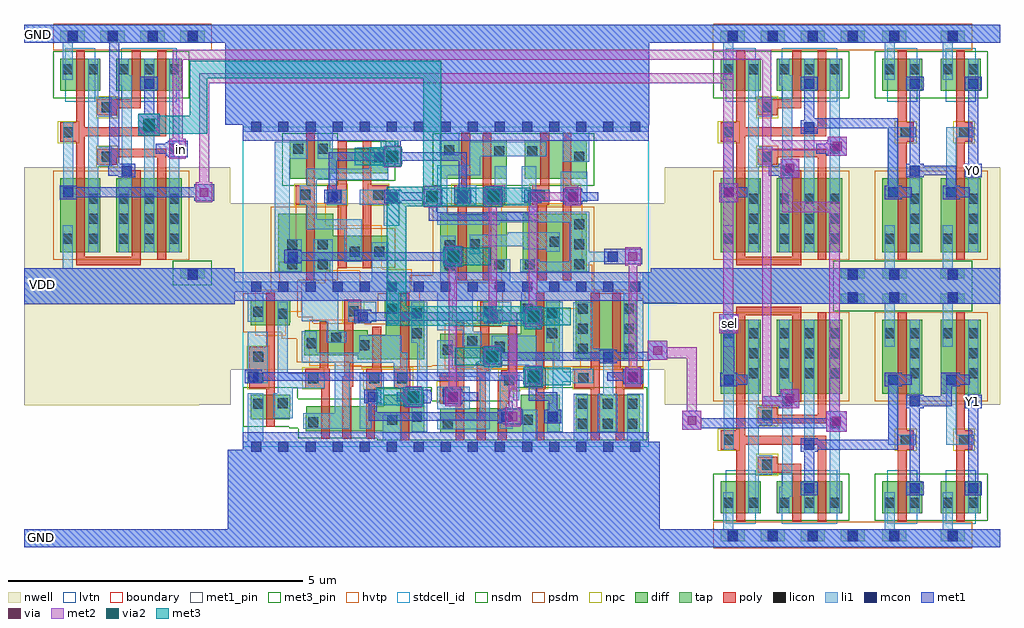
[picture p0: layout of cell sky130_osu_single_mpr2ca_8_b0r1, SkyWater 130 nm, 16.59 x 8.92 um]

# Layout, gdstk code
import gdstk
lib = gdstk.Library(unit=1e-6, precision=1e-09)
def R(c, l, rs):  # rectangles x0, y0, x1, y1
    for r in rs: c.add(gdstk.rectangle(r[:2], r[2:], *l))
def A(c, l, x, y, w, h, nx, ny, dx, dy):  # array of equal rectangles
    R(c, l, [(x+i*dx, y+j*dy, x+i*dx+w, y+j*dy+h) for i in range(nx) for j in range(ny)])
nwell = (64, 20)
diff = (65, 20)
tap = (65, 44)
poly = (66, 20)
licon = (66, 44)
li1 = (67, 20)
mcon = (67, 44)
met1_pin = (68, 16)
met1 = (68, 20)
via = (68, 44)
met2 = (69, 20)
via2 = (69, 44)
met3_pin = (70, 16)
met3 = (70, 20)
hvtp = (78, 44)
stdcell_id = (81, 4)
nsdm = (93, 44)
psdm = (94, 20)
npc = (95, 20)
lvtn = (125, 44)
boundary = (235, 4)

sky130_osu_sc_12t_hs__mu = lib.new_cell('sky130_osu_sc_12T_hs__mux2_1')
R(sky130_osu_sc_12t_hs__mu, nwell, [(-0.045,2.425,2.765,4.515)])
R(sky130_osu_sc_12t_hs__mu, diff, [(0.135,0.575,0.815,1.125), (1.085,0.575,2.195,1.125), (0.135,2.605,0.815,3.865), (1.085,2.605,2.195,3.865)])
A(sky130_osu_sc_12t_hs__mu, tap, 0.135, 0.105, 0.41, 0.2, 4, 1, 0.68, 0)
R(sky130_osu_sc_12t_hs__mu, tap, [(2.17,4.135,2.585,4.305)])
R(sky130_osu_sc_12t_hs__mu, poly, [(0.4,0.445,0.55,1.66), (1.35,0.445,1.5,1.265), (1.78,0.445,1.93,1.745), (0.76,1.265,1.5,1.415), (0.76,1.415,1.09,1.535), (0.135,1.66,0.55,1.745), (0.135,1.745,1.93,1.895), (0.135,1.895,0.55,1.99), (0.4,1.99,0.55,3.94), (0.76,2.105,1.93,2.255), (0.76,2.255,1.09,2.375), (1.78,2.255,1.93,3.995), (1.35,2.475,1.5,3.94), (0.4,3.94,1.5,4.09)])
A(sky130_osu_sc_12t_hs__mu, licon, 0.255, 0.135, 0.17, 0.17, 4, 1, 0.68, 0)
A(sky130_osu_sc_12t_hs__mu, licon, 1.125, 0.67, 0.17, 0.17, 3, 2, 0.43, 2.2)
A(sky130_osu_sc_12t_hs__mu, licon, 0.605, 2.87, 0.17, 0.17, 1, 3, 0, 0.34)
A(sky130_osu_sc_12t_hs__mu, licon, 1.125, 3.21, 0.17, 0.17, 3, 2, 0.43, 0.34)
R(sky130_osu_sc_12t_hs__mu, licon, [(0.175,0.67,0.345,0.84), (0.605,0.67,0.775,0.84), (0.84,1.315,1.01,1.485), (0.185,1.74,0.355,1.91), (0.84,2.155,1.01,2.325), (0.175,3.55,0.345,3.72), (2.295,4.135,2.465,4.305)])
R(sky130_osu_sc_12t_hs__mu, li1, [(0,0,2.75,0.305), (0.175,0.305,0.345,0.935), (0.605,0.575,0.775,1.235), (1.125,0.575,1.295,0.855), (1.555,0.575,1.725,1.085), (1.985,0.575,2.155,3.865), (1.125,0.855,1.35,1.025), (1.18,1.025,1.35,2.635), (0.605,1.235,1.01,1.565), (0.605,1.565,0.775,2.075), (1.555,1.655,1.725,3.865), (0.185,1.66,0.355,2.935), (0.605,2.075,1.01,2.405), (0.605,2.405,0.775,3.865), (1.125,2.635,1.35,2.805), (1.125,2.805,1.295,3.865), (0.175,3.405,0.345,4.135), (0,4.135,2.75,4.44)])
A(sky130_osu_sc_12t_hs__mu, mcon, 0.255, 0.105, 0.17, 0.17, 4, 1, 0.68, 0)
R(sky130_osu_sc_12t_hs__mu, mcon, [(1.555,0.915,1.725,1.085), (1.555,1.655,1.725,1.825), (1.985,2.025,2.155,2.195), (1.18,2.395,1.35,2.565), (0.185,2.765,0.355,2.935), (2.295,4.165,2.465,4.335)])
R(sky130_osu_sc_12t_hs__mu, met1, [(0,0,2.75,0.305), (1.495,0.885,1.785,1.115), (1.555,1.115,1.725,1.625), (1.495,1.625,1.785,1.855), (1.925,1.995,2.215,2.025), (1.755,2.025,2.215,2.195), (1.925,2.195,2.215,2.225), (1.12,2.365,1.41,2.395), (0.95,2.395,1.41,2.565), (1.12,2.565,1.41,2.595), (0.125,2.735,0.415,2.765), (0.125,2.765,0.585,2.935), (0.125,2.935,0.415,2.965), (0,4.135,2.75,4.44)])
R(sky130_osu_sc_12t_hs__mu, nsdm, [(0.01,0.45,2.32,1.25), (2.045,4.01,2.71,4.43)])
R(sky130_osu_sc_12t_hs__mu, psdm, [(0.01,-0.02,2.71,0.43), (0.01,2.48,2.32,3.99)])
R(sky130_osu_sc_12t_hs__mu, npc, [(0.74,1.215,1.11,1.585), (0.085,1.64,0.455,2.01), (0.74,2.055,1.11,2.425)])
R(sky130_osu_sc_12t_hs__mu, lvtn, [(0.22,0.395,0.73,1.305), (1.17,0.395,2.11,1.305)])
sky130_osu_sc_12t_hs__mu.add(gdstk.Label('S0', (0.27,2.85), layer=68, texttype=5))
sky130_osu_sc_12t_hs__mu.add(gdstk.Label('Y', (1.64,1.74), layer=68, texttype=5))
sky130_osu_sc_12t_hs__mu.add(gdstk.Label('A0', (1.265,2.48), layer=68, texttype=5))
sky130_osu_sc_12t_hs__mu.add(gdstk.Label('A1', (2.07,2.11), layer=68, texttype=5))
sky130_osu_sc_12t_hs__mu.add(gdstk.Label('VDD', (2.38,4.2), layer=68, texttype=5))
sky130_osu_sc_12t_hs__mu.add(gdstk.Label('GND ', (0.34,0.24), layer=68, texttype=5))

sky130_osu_sc_12t_hs__in = lib.new_cell('sky130_osu_sc_12T_hs__inv_1')
R(sky130_osu_sc_12t_hs__in, nwell, [(-0.05,2.425,0.995,4.515)])
R(sky130_osu_sc_12t_hs__in, diff, [(0.135,0.575,0.815,1.125), (0.135,2.605,0.815,3.865)])
R(sky130_osu_sc_12t_hs__in, tap, [(0.135,0.105,0.545,0.305), (0.13,4.135,0.55,4.305)])
R(sky130_osu_sc_12t_hs__in, poly, [(0.4,0.445,0.55,1.66), (0.4,1.66,0.67,1.99), (0.4,1.99,0.55,3.995)])
A(sky130_osu_sc_12t_hs__in, licon, 0.605, 2.87, 0.17, 0.17, 1, 3, 0, 0.34)
R(sky130_osu_sc_12t_hs__in, licon, [(0.255,0.135,0.425,0.305), (0.175,0.67,0.345,0.84), (0.605,0.67,0.775,0.84), (0.45,1.74,0.62,1.91), (0.175,3.55,0.345,3.72), (0.255,4.135,0.425,4.305)])
R(sky130_osu_sc_12t_hs__in, li1, [(0,0,0.99,0.305), (0.175,0.305,0.345,0.935), (0.605,0.575,0.775,1.085), (0.235,1.74,0.7,1.91), (0.235,1.91,0.405,2.935), (0.605,2.395,0.775,3.865), (0.175,3.405,0.345,4.135), (0,4.135,0.99,4.44)])
R(sky130_osu_sc_12t_hs__in, mcon, [(0.255,0.105,0.425,0.275), (0.605,0.915,0.775,1.085), (0.605,2.395,0.775,2.565), (0.235,2.765,0.405,2.935), (0.255,4.165,0.425,4.335)])
R(sky130_osu_sc_12t_hs__in, met1, [(0,0,0.99,0.305), (0.545,0.885,0.835,1.115), (0.605,1.115,0.775,2.365), (0.545,2.365,0.835,2.595), (0.175,2.735,0.465,2.765), (0.175,2.765,0.635,2.935), (0.175,2.935,0.465,2.965), (0,4.135,0.99,4.44)])
R(sky130_osu_sc_12t_hs__in, nsdm, [(0.01,0.45,0.94,1.25), (0.005,4.01,0.675,4.43)])
R(sky130_osu_sc_12t_hs__in, psdm, [(0.01,-0.02,0.67,0.43), (0.01,2.48,0.94,3.99)])
R(sky130_osu_sc_12t_hs__in, npc, [(0.35,1.64,0.72,2.01)])
R(sky130_osu_sc_12t_hs__in, lvtn, [(0.22,0.395,0.73,1.305)])
sky130_osu_sc_12t_hs__in.add(gdstk.Label('Y', (0.755,1.725), layer=68, texttype=5))
sky130_osu_sc_12t_hs__in.add(gdstk.Label('A', (0.32,2.85), layer=68, texttype=5))
sky130_osu_sc_12t_hs__in.add(gdstk.Label('VDD', (0.34,4.2), layer=68, texttype=5))
sky130_osu_sc_12t_hs__in.add(gdstk.Label('GND', (0.34,0.24), layer=68, texttype=5))

scs130hd_mpr2ca_8 = lib.new_cell('scs130hd_mpr2ca_8')
R(scs130hd_mpr2ca_8, nwell, [(-0.19,1.305,7.09,4.135)])
R(scs130hd_mpr2ca_8, diff, [(2.41,0.235,3.085,0.265), (3.355,0.235,5.385,0.655), (5.655,0.235,6.745,0.885), (1.07,0.265,3.085,0.545), (0.135,0.465,0.795,0.6), (1.075,0.545,3.085,0.55), (1.08,0.55,3.085,0.685), (0.135,0.6,0.805,0.885), (4.725,0.655,5.385,0.885), (2.395,0.685,3.085,0.88), (2.395,0.88,2.625,0.885), (2.675,0.88,2.825,0.885), (3.08,0.88,3.085,0.885), (1.95,1.485,3.085,1.555), (4.725,1.485,5.385,1.5), (5.655,1.485,6.685,2.485), (3.355,1.5,5.385,1.92), (1.045,1.555,3.085,1.905), (1.055,1.905,2.125,1.975), (2.425,1.905,3.085,2.19), (4.725,1.92,5.385,2.19), (0.135,2.065,0.795,2.115), (0.135,2.115,0.805,2.485), (2.415,2.19,3.085,2.485), (4.715,2.19,5.385,2.485), (0.6,2.955,1.485,3.165), (3.355,2.955,4.485,3.955), (4.755,2.955,5.845,3.955), (0.6,3.165,2.465,3.585), (0.6,3.585,1.535,3.955), (0.795,4.555,1.485,4.645), (3.355,4.555,4.485,5.205), (4.795,4.555,5.845,5.205), (0.795,4.645,2.465,5.065), (0.795,5.065,1.485,5.205)])
R(scs130hd_mpr2ca_8, poly, [(2.675,0.105,2.825,0.99), (3.615,0.105,3.765,0.73), (3.975,0.105,4.125,1.285), (4.335,0.105,4.485,0.73), (4.975,0.105,5.125,0.995), (5.915,0.105,6.065,0.995), (6.335,0.105,6.485,0.995), (1.33,0.135,1.48,0.995), (1.69,0.135,1.84,1.015), (2.095,0.135,2.245,0.995), (0.395,0.335,0.545,0.995), (3.345,0.73,3.765,1.255), (4.335,0.73,4.52,0.85), (4.335,0.85,4.545,0.965), (4.335,0.965,4.665,1.13), (2.625,0.99,2.845,0.995), (0.11,0.995,0.545,1.695), (1.06,0.995,1.48,1.325), (2.095,0.995,2.365,1.325), (2.575,0.995,2.845,1.055), (4.875,0.995,5.145,1.325), (5.63,0.995,6.065,1.325), (6.335,0.995,6.795,1.175), (1.69,1.015,1.875,1.2), (2.575,1.055,2.625,1.06), (2.575,1.06,2.845,1.325), (4.395,1.13,4.665,1.295), (6.275,1.175,6.795,1.325), (1.725,1.2,1.875,2.135), (3.615,1.255,3.765,2.125), (3.975,1.285,4.185,1.41), (4.5,1.295,4.65,2.05), (1.305,1.325,1.455,2.125), (2.2,1.325,2.35,2.035), (2.675,1.325,2.825,2.615), (4.975,1.325,5.125,2.615), (5.915,1.325,6.065,2.615), (6.275,1.325,6.425,2.615), (4.035,1.41,4.185,2.13), (0.395,1.695,0.545,2.615), (4.035,2.13,4.305,2.46), (1.725,2.135,2.01,2.5), (1.075,2.825,1.225,4.115), (3.655,2.825,3.805,4.115), (4.075,2.825,4.225,4.115), (5.015,2.825,5.165,4.115), (5.435,2.825,5.585,4.115), (1.615,3.035,1.765,4.115), (2.035,3.035,2.185,4.115), (0.895,4.115,1.225,4.445), (1.435,4.115,1.765,4.445), (2.035,4.115,2.47,4.445), (3.595,4.115,3.865,4.445), (4.075,4.115,4.46,4.445), (4.915,4.115,5.205,4.445), (5.435,4.115,5.705,4.445), (1.075,4.445,1.225,5.335), (1.615,4.445,1.765,5.195), (2.035,4.445,2.185,5.195), (3.715,4.445,3.865,5.335), (4.075,4.445,4.225,5.335), (5.055,4.445,5.205,5.335), (5.435,4.445,5.585,5.335)])
A(scs130hd_mpr2ca_8, licon, 5.695, 0.305, 0.17, 0.17, 3, 2, 0.42, 0.34)
A(scs130hd_mpr2ca_8, licon, 5.695, 1.575, 0.17, 0.17, 1, 3, 0, 0.34)
A(scs130hd_mpr2ca_8, licon, 6.475, 1.575, 0.17, 0.17, 1, 3, 0, 0.34)
A(scs130hd_mpr2ca_8, licon, 5.635, 3.015, 0.17, 0.17, 1, 3, 0, 0.34)
R(scs130hd_mpr2ca_8, licon, [(3.395,0.295,3.565,0.465), (1.11,0.325,1.28,0.495), (2.455,0.375,2.625,0.545), (4.755,0.375,4.925,0.545), (2.875,0.425,3.045,0.595), (5.175,0.425,5.345,0.595), (0.175,0.645,0.345,0.815), (0.595,0.655,0.765,0.825), (3.395,0.845,3.565,1.015), (4.445,1.045,4.615,1.215), (0.175,1.075,0.345,1.245), (1.11,1.075,1.28,1.245), (2.145,1.075,2.315,1.245), (2.625,1.075,2.795,1.245), (4.925,1.075,5.095,1.245), (5.705,1.075,5.875,1.245), (6.545,1.075,6.715,1.245), (0.175,1.445,0.345,1.615), (3.395,1.56,3.565,1.73), (4.28,1.615,4.45,1.785), (1.975,1.64,2.145,1.81), (1.085,1.675,1.255,1.845), (3.815,1.71,3.985,1.88), (1.505,1.765,1.675,1.935), (2.875,1.845,3.045,2.015), (5.175,1.845,5.345,2.015), (0.595,2.175,0.765,2.345), (2.875,2.185,3.045,2.355), (5.175,2.185,5.345,2.355), (0.175,2.205,0.345,2.375), (4.085,2.21,4.255,2.38), (1.79,2.215,1.96,2.385), (2.455,2.255,2.625,2.425), (4.755,2.255,4.925,2.425), (3.435,2.995,3.605,3.165), (0.755,3.015,0.925,3.185), (1.275,3.015,1.445,3.185), (4.275,3.015,4.445,3.185), (4.795,3.015,4.965,3.185), (1.815,3.225,1.985,3.395), (2.235,3.225,2.405,3.395), (3.435,3.335,3.605,3.505), (0.755,3.355,0.925,3.525), (1.275,3.355,1.445,3.525), (3.855,3.355,4.025,3.525), (5.215,3.395,5.385,3.565), (0.975,4.195,1.145,4.365), (1.515,4.195,1.685,4.365), (2.22,4.195,2.39,4.365), (3.645,4.195,3.815,4.365), (4.22,4.195,4.39,4.365), (4.965,4.195,5.135,4.365), (5.485,4.195,5.655,4.365), (2.235,4.835,2.405,5.005), (5.635,4.845,5.805,5.015), (4.275,4.935,4.445,5.105), (4.835,4.935,5.005,5.105), (3.425,4.955,3.595,5.125), (0.855,4.975,1.025,5.145), (1.275,4.975,1.445,5.145)])
A(scs130hd_mpr2ca_8, li1, 0, -0.085, 6.9, 0.17, 1, 3, 0, 2.72)
R(scs130hd_mpr2ca_8, li1, [(0.085,0.085,0.345,0.905), (2.375,0.085,2.705,0.545), (4.755,0.085,5.005,0.625), (5.625,0.085,5.865,0.895), (6.535,0.085,6.805,0.895), (2.875,0.255,3.135,0.73), (5.175,0.255,5.435,0.735), (6.035,0.255,6.365,0.895), (3.305,0.295,4.195,0.465), (1.025,0.305,1.815,0.57), (1.985,0.305,2.185,0.725), (4.365,0.305,4.585,0.79), (4.025,0.465,4.195,1.19), (0.515,0.485,0.845,0.905), (1.56,0.57,1.815,1.425), (3.305,0.635,3.855,1.02), (1.985,0.725,2.395,1.245), (2.965,0.73,3.135,1.055), (5.265,0.735,5.435,1.105), (4.365,0.79,4.695,1.215), (6.125,0.895,6.295,1.495), (0.595,0.905,0.845,0.995), (2.625,0.99,2.795,0.995), (4.865,0.99,5.095,1.385), (0.595,0.995,1.39,1.245), (2.565,0.995,2.795,1.055), (2.565,1.055,2.625,1.06), (3.08,1.055,3.135,1.06), (2.565,1.06,2.795,1.425), (2.965,1.06,3.135,1.765), (0.085,1.075,0.425,1.955), (5.605,1.075,5.955,1.105), (6.465,1.075,6.815,1.325), (5.265,1.105,5.955,1.275), (3.305,1.19,4.195,1.26), (0.595,1.245,0.765,2.465), (3.305,1.26,4.2,1.285), (5.265,1.275,5.435,1.765), (5.605,1.275,5.955,1.325), (3.305,1.285,4.21,1.3), (3.305,1.3,4.215,1.315), (3.305,1.315,4.225,1.32), (3.305,1.32,4.23,1.33), (3.305,1.33,4.235,1.34), (3.305,1.34,4.245,1.345), (3.305,1.345,4.255,1.355), (3.305,1.355,4.265,1.36), (3.305,1.36,3.565,1.81), (3.93,1.36,4.265,1.365), (3.93,1.365,4.28,1.37), (3.93,1.37,4.295,1.38), (3.93,1.38,4.32,1.385), (3.93,1.385,5.095,1.39), (3.96,1.39,5.095,1.425), (1.005,1.425,2.795,1.595), (3.995,1.425,5.095,1.45), (4.025,1.45,5.095,1.48), (4.045,1.48,5.095,1.51), (5.615,1.495,6.295,1.665), (6.475,1.495,6.805,2.635), (4.065,1.51,5.095,1.54), (4.135,1.54,5.095,1.55), (4.16,1.55,5.095,1.56), (4.18,1.56,5.095,1.575), (4.2,1.575,5.095,1.59), (4.205,1.59,4.99,1.6), (1.005,1.595,1.255,1.96), (1.975,1.595,2.69,1.89), (4.22,1.6,4.99,1.635), (4.235,1.635,4.99,1.885), (5.615,1.665,5.945,2.45), (3.735,1.71,4.065,1.955), (1.425,1.765,1.755,1.955), (2.86,1.765,3.135,2.465), (5.16,1.765,5.435,2.465), (1.425,1.955,1.62,2.13), (3.735,1.955,3.92,1.98), (3.305,1.98,3.92,2.08), (3.305,2.08,3.91,2.635), (2.435,2.09,2.65,2.635), (4.735,2.09,4.99,2.635), (0.085,2.125,0.345,2.635), (1.79,2.125,2.265,2.465), (4.085,2.125,4.565,2.465), (1.005,2.13,1.62,2.635), (1.195,2.805,1.525,3.525), (2.195,2.805,2.475,3.475), (3.355,2.805,3.62,3.585), (4.17,2.805,4.545,3.185), (0.545,2.975,1.005,3.525), (4.715,2.975,5.885,3.145), (1.725,3.145,2.025,3.695), (4.715,3.145,5.045,3.185), (5.555,3.145,6.375,3.315), (3.855,3.275,4.025,3.405), (5.155,3.315,5.385,3.355), (5.555,3.315,5.885,3.815), (4.77,3.355,5.385,3.405), (3.855,3.405,5.385,3.605), (0.545,3.525,0.795,4.895), (4.505,3.605,5.385,3.645), (1.085,3.695,2.025,3.865), (2.395,3.755,2.66,4.115), (3.305,3.775,4.365,3.815), (3.305,3.815,5.885,3.945), (1.085,3.865,1.255,4.115), (3.305,3.945,3.475,4.615), (4.14,3.945,5.885,3.995), (0.965,4.115,1.255,4.445), (1.425,4.115,1.765,4.365), (1.985,4.115,2.66,4.365), (3.645,4.115,3.97,4.445), (4.14,4.165,4.49,4.365), (4.74,4.165,5.215,4.365), (5.405,4.165,5.855,4.675), (4.28,4.365,4.49,4.765), (4.74,4.365,4.99,4.765), (1.085,4.445,1.255,4.535), (1.085,4.535,2.475,4.725), (3.305,4.615,4.035,4.785), (2.145,4.725,2.475,5.085), (3.855,4.785,4.035,4.935), (5.435,4.845,5.885,5.355), (0.545,4.895,1.105,5.185), (1.275,4.895,1.525,5.355), (3.855,4.935,5.16,5.185), (3.345,4.955,3.675,5.355)])
A(scs130hd_mpr2ca_8, mcon, 0.145, -0.085, 0.17, 0.17, 15, 3, 0.46, 2.72)
A(scs130hd_mpr2ca_8, mcon, 4.165, 4.165, 0.17, 0.17, 3, 1, 0.68, 0)
R(scs130hd_mpr2ca_8, mcon, [(4.39,0.425,4.56,0.595), (5.185,0.425,5.355,0.595), (2.125,0.765,2.295,0.935), (3.485,0.765,3.655,0.935), (0.09,1.105,0.26,1.275), (6.545,1.105,6.715,1.275), (6.125,1.445,6.295,1.615), (1.955,2.125,2.125,2.295), (4.165,2.125,4.335,2.295), (0.765,3.145,0.935,3.315), (6.205,3.145,6.375,3.315), (1.445,4.165,1.615,4.335), (2.465,4.165,2.635,4.335), (3.655,4.165,3.825,4.335)])
R(scs130hd_mpr2ca_8, met1_pin, [(2.735,0.68,3.065,1.01)])
A(scs130hd_mpr2ca_8, met1, 0, -0.24, 6.9, 0.48, 1, 3, 0, 2.72)
R(scs130hd_mpr2ca_8, met1, [(4.43,0.38,4.75,0.395), (4.33,0.395,4.75,0.44), (5.125,0.395,5.415,0.625), (2.14,0.44,4.75,0.58), (2.14,0.58,2.28,0.735), (4.33,0.58,4.75,0.625), (4.43,0.625,4.75,0.64), (5.2,0.625,5.34,0.78), (2.73,0.715,3.05,0.73), (3.41,0.72,3.73,0.78), (2.73,0.73,3.08,0.735), (2.065,0.735,2.355,0.965), (2.73,0.735,3.195,0.775), (2.625,0.775,3.195,0.78), (2.615,0.78,3.21,0.915), (3.41,0.78,4.005,0.92), (4.86,0.78,5.34,0.92), (2.615,0.915,2.625,0.92), (2.73,0.915,3.21,0.92), (2.73,0.92,3.195,0.96), (3.41,0.92,3.73,0.98), (4.86,0.92,5,1.06), (2.73,0.96,3.05,0.975), (3.08,0.96,3.195,0.965), (4.77,1.06,5.09,1.12), (6.47,1.06,6.79,1.12), (0.03,1.075,0.32,1.12), (0.03,1.12,5.09,1.26), (6.195,1.12,6.79,1.26), (0.03,1.26,0.32,1.305), (4.77,1.26,5.09,1.32), (6.47,1.26,6.79,1.32), (4.09,1.4,4.41,1.46), (6.065,1.415,6.355,1.46), (4.09,1.46,6.355,1.6), (4.09,1.6,4.41,1.66), (6.065,1.6,6.355,1.645), (4.77,2.08,5.09,2.14), (1.895,2.095,2.185,2.14), (4.105,2.095,4.395,2.14), (1.895,2.14,5.09,2.28), (1.895,2.28,2.185,2.325), (4.105,2.28,4.395,2.325), (4.77,2.28,5.09,2.34), (3.41,3.1,3.73,3.16), (6.145,3.1,6.79,3.36), (0.705,3.115,0.995,3.16), (0.705,3.16,3.73,3.3), (0.705,3.3,0.995,3.345), (3.41,3.3,3.73,3.36), (3.16,3.84,5,3.98), (3.16,3.98,3.3,4.12), (4.86,3.98,5,4.135), (3.07,4.12,3.39,4.18), (4.09,4.12,4.41,4.38), (5.45,4.12,5.77,4.18), (1.385,4.135,1.675,4.365), (2.405,4.135,2.695,4.18), (3.595,4.135,3.885,4.365), (4.785,4.135,5.075,4.365), (2.405,4.18,3.39,4.32), (5.45,4.18,6.045,4.32), (2.405,4.32,2.695,4.365), (3.07,4.32,3.39,4.38), (5.45,4.32,5.77,4.38), (1.46,4.365,1.6,4.86), (3.67,4.365,3.81,4.86), (2.39,4.8,2.71,4.86), (1.46,4.86,3.81,5), (2.39,5,2.71,5.06)])
R(scs130hd_mpr2ca_8, via, [(4.515,0.435,4.665,0.585), (2.815,0.77,2.965,0.92), (3.495,0.775,3.645,0.925), (4.855,1.115,5.005,1.265), (6.555,1.115,6.705,1.265), (4.175,1.455,4.325,1.605), (4.855,2.135,5.005,2.285), (3.495,3.155,3.645,3.305), (6.555,3.155,6.705,3.305), (3.155,4.175,3.305,4.325), (4.175,4.175,4.325,4.325), (5.535,4.175,5.685,4.325), (2.475,4.855,2.625,5.005)])
R(scs130hd_mpr2ca_8, met2, [(4.46,0.35,4.72,0.67), (2.76,0.66,3.04,1.03), (4.52,0.67,4.66,2.14), (3.44,0.69,3.7,1.01), (4.8,1.005,5.08,1.375), (3.5,1.01,3.64,3.045), (6.5,1.03,6.76,1.35), (4.1,1.345,4.38,1.715), (6.56,1.35,6.7,3.07), (4.8,2.025,5.08,2.395), (4.18,2.14,4.66,2.28), (4.18,2.28,4.32,4.065), (4.86,2.395,5,4.18), (3.44,3.045,3.72,3.415), (6.5,3.07,6.76,3.39), (3.075,4.065,3.355,4.09), (4.12,4.065,4.4,4.435), (3.075,4.09,3.36,4.41), (5.48,4.09,5.74,4.18), (4.86,4.18,5.74,4.32), (5.48,4.32,5.74,4.41), (3.075,4.41,3.355,4.435), (2.4,4.745,2.68,5.115)])
R(scs130hd_mpr2ca_8, via2, [(2.8,0.745,3,0.945), (4.84,1.09,5.04,1.29), (4.14,1.43,4.34,1.63), (4.84,2.11,5.04,2.31), (3.48,3.13,3.68,3.33), (3.115,4.15,3.315,4.35), (4.16,4.15,4.36,4.35), (2.44,4.83,2.64,5.03)])
R(scs130hd_mpr2ca_8, met3_pin, [(4.775,1.025,5.105,1.355), (4.075,1.365,4.405,1.695), (4.775,2.045,5.105,2.375), (3.415,3.065,3.745,3.395), (3.05,4.085,3.38,4.415), (4.095,4.085,4.425,4.415), (2.375,4.765,2.705,5.095)])
R(scs130hd_mpr2ca_8, met3, [(2.735,0.68,3.065,0.695), (2.625,0.695,3.065,0.7), (2.265,0.7,3.065,0.995), (2.265,0.995,2.625,1), (2.735,0.995,3.065,1.01), (4.775,1.025,5.105,1.04), (4.775,1.04,5.575,1.34), (4.775,1.34,5.105,1.355), (4.1,1.35,4.4,1.365), (4.075,1.365,4.405,1.38), (3.605,1.38,4.405,1.68), (4.075,1.68,4.405,1.695), (4.78,1.995,5.08,2.045), (4.775,2.045,5.105,2.06), (4.775,2.06,5.575,2.36), (4.775,2.36,5.105,2.375), (3.415,3.065,3.745,3.08), (3.415,3.08,4.215,3.38), (3.415,3.38,3.745,3.395), (4.1,4.08,4.4,4.085), (3.05,4.085,3.38,4.1), (4.095,4.085,4.425,4.1), (2.58,4.1,3.38,4.4), (4.095,4.1,4.895,4.4), (3.05,4.4,3.38,4.415), (4.095,4.4,4.425,4.415), (2.375,4.765,2.705,4.78), (1.905,4.78,2.705,5.08), (2.345,5.08,2.705,5.095), (2.345,5.095,2.645,5.195)])
R(scs130hd_mpr2ca_8, hvtp, [(2.02,1.305,3.005,1.375), (4.795,1.305,5.305,1.32), (5.735,1.305,6.605,2.345), (3.435,1.32,5.305,2.1), (1.125,1.375,3.005,2.085), (0.215,1.885,0.725,2.295), (1.125,2.085,2.055,2.155), (2.495,2.085,3.005,2.635), (4.795,2.1,5.305,2.345), (0.215,2.295,1,2.665), (4.795,2.345,6.605,2.665), (1.985,2.635,3.005,2.665), (0.62,2.665,1,2.775), (1.985,2.665,2.875,2.985), (4.835,2.665,5.94,3.095), (0.62,2.775,1.405,2.985), (3.475,2.775,4.405,4.135), (0.62,2.985,2.875,3.015), (0.62,3.015,2.365,3.145), (4.835,3.095,5.765,4.135), (0.895,3.145,2.365,3.765), (0.895,3.765,1.405,4.135)])
R(scs130hd_mpr2ca_8, stdcell_id, [(0,0,6.9,5.44)])
R(scs130hd_mpr2ca_8, nsdm, [(2.285,0.11,6.87,0.14), (0.945,0.14,6.87,0.315), (0.79,0.315,6.87,0.34), (0.01,0.34,6.87,0.78), (0.01,0.78,3.21,0.81), (4.6,0.78,6.87,1.01), (0.01,0.81,0.93,1.01), (2.27,0.81,3.21,1.01), (0.67,4.43,1.61,4.52), (3.23,4.43,5.97,5.33), (0.67,4.52,2.59,5.19), (0.67,5.19,1.61,5.33)])
R(scs130hd_mpr2ca_8, psdm, [(1.825,1.36,3.21,1.375), (4.6,1.36,6.81,1.375), (1.825,1.375,6.81,1.43), (0.92,1.43,6.81,1.83), (0.66,1.83,6.81,1.94), (0.01,1.94,6.81,2.045), (0.01,2.045,3.565,2.1), (4.41,2.045,6.81,2.61), (0.01,2.1,1.19,2.21), (1.93,2.1,3.565,2.275), (0.01,2.21,0.93,2.61), (2.29,2.275,3.565,2.53), (2.29,2.53,3.605,2.61), (0.475,2.61,0.93,2.83), (2.835,2.61,3.605,2.83), (4.41,2.61,5.97,2.83), (0.475,2.83,1.61,3.04), (2.835,2.83,5.97,2.91), (3.23,2.91,5.97,4.08), (0.475,3.04,2.59,3.71), (0.475,3.71,1.66,4.08)])
R(scs130hd_mpr2ca_8, npc, [(3.295,0.745,3.665,1.115), (4.345,0.945,4.715,0.975), (0.075,0.975,0.445,1.715), (1.01,0.975,1.38,1.345), (2.045,0.975,2.895,1.345), (4.345,0.975,5.195,1.315), (5.605,0.975,5.975,1.345), (6.445,0.975,6.815,1.345), (4.825,1.315,5.195,1.345), (3.985,2.11,4.355,2.48), (1.69,2.115,2.06,2.485), (0.875,4.095,1.785,4.465), (2.12,4.095,2.49,4.465), (3.545,4.095,4.49,4.465), (4.865,4.095,5.755,4.465)])
R(scs130hd_mpr2ca_8, boundary, [(0,0,6.9,5.44)])
scs130hd_mpr2ca_8.add(gdstk.Label('A1', (4.26,4.25), layer=70, texttype=5))
scs130hd_mpr2ca_8.add(gdstk.Label('B1', (4.94,2.21), layer=70, texttype=5))
scs130hd_mpr2ca_8.add(gdstk.Label('R3', (4.94,1.19), layer=70, texttype=5))
scs130hd_mpr2ca_8.add(gdstk.Label('R2', (2.9,0.845), layer=68, texttype=5))
scs130hd_mpr2ca_8.add(gdstk.Label('R1', (4.24,1.53), layer=70, texttype=5))
scs130hd_mpr2ca_8.add(gdstk.Label('R0', (3.58,3.23), layer=70, texttype=5))
scs130hd_mpr2ca_8.add(gdstk.Label('B0', (2.54,4.93), layer=70, texttype=5))
scs130hd_mpr2ca_8.add(gdstk.Label('A0', (3.215,4.25), layer=70, texttype=5))
scs130hd_mpr2ca_8.add(gdstk.Label('vgnd', (0.91,5.435), layer=68, texttype=5))
scs130hd_mpr2ca_8.add(gdstk.Label('vgnd', (0.89,0.01), layer=68, texttype=5))
scs130hd_mpr2ca_8.add(gdstk.Label('vpwr', (0.88,2.72), layer=68, texttype=5))
scs130hd_mpr2ca_8.add(gdstk.Label('VNB', (0.68,-0.01), layer=64, texttype=59))
scs130hd_mpr2ca_8.add(gdstk.Label('VNB', (0.695,5.435), layer=64, texttype=59))
scs130hd_mpr2ca_8.add(gdstk.Label('VPB', (0.685,2.715), layer=64, texttype=5))

sky130_osu_single_mpr2ca = lib.new_cell('sky130_osu_single_mpr2ca_8_b0r1')
R(sky130_osu_single_mpr2ca, nwell, [(-10.155,2.415,-7.18,2.42), (-10.155,2.42,-6.64,3.015), (0.74,2.425,1.555,3.015), (6.21,2.425,6.435,6.455), (5.465,2.565,5.615,2.74), (-10.155,3.015,-6.625,4.13), (0.445,3.015,1.555,3.21), (0.45,3.21,1.555,3.31), (0.35,3.31,1.555,3.325), (0.45,3.325,1.555,3.42), (0.445,3.42,1.555,3.85), (-1.67,3.85,1.555,3.995), (0.445,3.995,1.555,4.135), (-10.155,4.13,-6.575,4.19), (0.365,4.135,1.605,4.67), (-10.155,4.19,-6.37,4.345), (-10.155,4.345,-6.36,4.515), (-10.155,4.515,-6.37,4.67), (-10.155,4.67,-6.575,4.745), (0.495,4.67,1.605,4.745), (-10.155,4.745,-6.625,5.845), (0.58,4.745,1.555,5.6), (0.655,5.6,1.555,5.845), (-10.155,5.845,-6.645,6.455), (0.74,5.845,1.555,5.94), (1.665,5.865,1.99,6.19), (0.74,5.94,1.53,6.455)])
R(sky130_osu_single_mpr2ca, tap, [(1.68,8.575,1.74,8.745), (2.37,8.575,2.745,8.745)])
R(sky130_osu_single_mpr2ca, li1, [(-10.15,0,1.81,0.305), (6.255,0,6.435,0.305), (-6.69,0.305,0.655,1.655), (0.46,1.655,0.655,1.795), (5.895,2.395,6.065,2.565), (-10.15,4.13,-6.575,4.345), (0.365,4.135,1.605,4.67), (6.255,4.135,6.435,4.745), (-10.15,4.345,-6.36,4.515), (-10.15,4.515,-6.575,4.74), (0.495,4.67,1.605,4.745), (5.895,6.315,6.065,6.485), (-6.73,7.18,0.47,8.575), (-10.15,8.575,1.81,8.88), (2.37,8.575,2.745,8.745), (6.255,8.575,6.435,8.88)])
R(sky130_osu_single_mpr2ca, mcon, [(5.895,2.395,6.065,2.565), (5.895,6.315,6.065,6.485)])
R(sky130_osu_single_mpr2ca, met1_pin, [(5.895,2.395,6.065,2.565), (5.895,6.315,6.065,6.485)])
R(sky130_osu_single_mpr2ca, met1, [(-10.15,0,1.81,0.305), (6.255,0,6.435,0.305), (-6.69,0.305,0.655,1.655), (0.46,1.655,0.655,1.795), (3.11,1.655,4.7,1.82), (3.11,1.82,3.28,1.825), (3.34,1.82,4.7,1.825), (4.535,1.825,4.7,2.735), (3.48,1.965,3.83,2.315), (1.035,1.995,1.36,2.025), (1.035,2.025,3.455,2.195), (1.035,2.195,1.36,2.32), (2.705,2.365,3.025,2.395), (2.39,2.395,3.025,2.565), (5.07,2.395,5.615,2.565), (5.895,2.395,6.065,2.565), (2.705,2.565,3.025,2.685), (5.425,2.565,5.615,2.74), (4.535,2.735,4.71,2.75), (5.425,2.74,5.53,2.965), (4.54,2.75,4.71,2.765), (4.535,2.765,4.71,2.8), (4.535,2.8,4.705,2.935), (1.735,2.935,1.915,3.635), (-0.49,3.17,0.49,3.185), (-0.49,3.185,0.775,3.31), (0.35,3.31,0.775,3.325), (0.45,3.325,0.775,3.51), (1.66,3.635,1.985,3.96), (-10.15,4.13,-6.575,4.19), (0.955,4.135,1.605,4.15), (6.255,4.135,6.435,4.745), (0.365,4.15,1.605,4.67), (-10.15,4.19,-6.37,4.345), (-10.15,4.345,-6.36,4.515), (-10.15,4.515,-6.37,4.64), (-10.15,4.64,-7.815,4.74), (-7.35,4.64,-6.37,4.67), (-7.35,4.67,-6.575,4.74), (0.495,4.67,1.605,4.745), (1.665,5.865,1.99,6.19), (-7.265,5.89,-6.925,5.945), (4.53,5.94,4.7,7.12), (-9.485,5.945,-6.925,6.115), (5.535,5.945,5.695,6.145), (-7.265,6.115,-6.925,6.17), (5.525,6.145,5.695,6.325), (2.705,6.28,3.025,6.605), (-8.71,6.315,-8.54,8.575), (5.895,6.315,6.065,6.485), (5.075,6.32,5.235,6.325), (5.075,6.325,5.695,6.485), (-7.715,6.63,-7.375,6.91), (3.505,6.655,3.83,6.98), (-4.01,6.765,-3.755,6.985), (-8.215,6.995,-7.845,7.365), (3.11,7.055,3.34,7.12), (3.11,7.12,4.7,7.225), (-6.73,7.18,0.47,8.575), (3.34,7.225,4.7,7.255), (3.28,7.255,4.7,7.29), (-10.15,8.575,1.81,8.88), (2.37,8.575,2.745,8.745), (6.255,8.575,6.435,8.88)])
R(sky130_osu_single_mpr2ca, via, [(3.58,2.065,3.73,2.215), (1.125,2.08,1.275,2.23), (2.79,2.45,2.94,2.6), (0.54,3.27,0.69,3.42), (1.75,3.72,1.9,3.87), (1.755,5.95,1.905,6.1), (-7.17,5.955,-7.02,6.105), (2.79,6.37,2.94,6.52), (-7.62,6.695,-7.47,6.845), (3.595,6.74,3.745,6.89), (-8.105,7.105,-7.955,7.255)])
R(sky130_osu_single_mpr2ca, met2, [(3.48,1.965,3.83,2.315), (1.035,1.995,1.36,2.32), (3.535,2.315,3.71,5.695), (1.11,2.32,1.28,3.215), (2.705,2.365,3.025,2.395), (2.39,2.395,3.025,2.565), (2.39,2.565,2.55,6.745), (2.705,2.565,3.025,2.685), (0.45,3.185,0.775,3.215), (0.45,3.215,1.28,3.4), (0.45,3.4,0.775,3.51), (1.66,3.635,1.985,3.96), (1.73,3.96,1.905,5.865), (2.735,5.695,3.71,5.87), (-7.235,5.86,-6.955,6.2), (1.665,5.865,1.99,6.19), (2.735,5.87,2.91,6.045), (2.735,6.045,2.905,6.28), (1.73,6.19,1.905,7.885), (-7.18,6.2,-7.01,7.885), (2.705,6.28,3.025,6.605), (-7.685,6.6,-7.405,6.94), (3.505,6.655,3.83,6.745), (2.39,6.745,3.83,6.915), (2.39,6.915,2.55,8.29), (3.505,6.915,3.83,6.98), (-7.63,6.94,-7.46,8.29), (-8.215,6.995,-7.845,7.365), (-7.18,7.885,1.905,8.055), (-7.63,8.29,2.55,8.46)])
R(sky130_osu_single_mpr2ca, via2, [(-8.13,7.08,-7.93,7.28)])
R(sky130_osu_single_mpr2ca, met3, [(-1.66,2.73,-1.34,2.755), (-1.64,2.755,-1.34,3.065), (-1.64,3.76,-1.34,3.765), (-3.99,3.765,-1.34,4.085), (-3.99,4.085,-1.695,4.095), (-3.99,4.095,-3.66,5.795), (-3.02,4.785,-2.69,5.085), (-3.02,5.085,-2.985,5.105), (-3.99,5.795,-2.05,6.095), (-3.99,6.095,-2.115,6.11), (-3.99,6.11,-3.055,6.125), (-3.365,6.125,-3.065,7.97), (-8.215,6.995,-7.845,7.03), (-8.215,7.03,-7.04,7.33), (-8.215,7.33,-7.845,7.365), (-7.34,7.33,-7.04,7.97), (-7.34,7.97,-3.06,8.27)])
R(sky130_osu_single_mpr2ca, nsdm, [(5.24,0.45,5.3,1.25), (4.265,4.01,4.305,4.43), (4.975,4.01,5.295,4.43), (3.6,4.43,5.965,4.45), (4.265,4.45,4.305,4.87), (4.975,4.45,5.295,4.87), (5.24,7.63,5.3,8.43)])
R(sky130_osu_single_mpr2ca, psdm, [(4.265,-0.02,4.31,0.43), (4.97,-0.02,5.3,0.43), (5.24,2.48,5.3,3.99), (5.24,4.89,5.3,6.4), (1.555,8.45,1.865,8.87), (2.245,8.45,2.87,8.87), (4.265,8.45,4.31,8.9), (4.97,8.45,5.3,8.9)])
sky130_osu_single_mpr2ca.add(gdstk.Reference(sky130_osu_sc_12t_hs__mu, (1.555,8.88), x_reflection=True))
sky130_osu_single_mpr2ca.add(gdstk.Reference(sky130_osu_sc_12t_hs__mu, (-9.67,8.88), x_reflection=True))
sky130_osu_single_mpr2ca.add(gdstk.Reference(sky130_osu_sc_12t_hs__mu, (1.555,0)))
sky130_osu_single_mpr2ca.add(gdstk.Reference(sky130_osu_sc_12t_hs__in, (4.3,8.88), x_reflection=True))
sky130_osu_single_mpr2ca.add(gdstk.Reference(sky130_osu_sc_12t_hs__in, (5.29,8.88), x_reflection=True))
sky130_osu_single_mpr2ca.add(gdstk.Reference(sky130_osu_sc_12t_hs__in, (5.29,0)))
sky130_osu_single_mpr2ca.add(gdstk.Reference(sky130_osu_sc_12t_hs__in, (4.3,0)))
sky130_osu_single_mpr2ca.add(gdstk.Reference(scs130hd_mpr2ca_8, (-6.435,1.71)))
sky130_osu_single_mpr2ca.add(gdstk.Label('GND', (-9.855,0.16), layer=68, texttype=5))
sky130_osu_single_mpr2ca.add(gdstk.Label('GND', (-9.91,8.715), layer=68, texttype=5))
sky130_osu_single_mpr2ca.add(gdstk.Label('VDD', (-9.84,4.46), layer=68, texttype=5))
sky130_osu_single_mpr2ca.add(gdstk.Label('sel', (1.83,3.8), layer=69, texttype=5))
sky130_osu_single_mpr2ca.add(gdstk.Label('in', (-7.475,6.765), layer=69, texttype=5))
sky130_osu_single_mpr2ca.add(gdstk.Label('Y0', (5.98,6.4), layer=68, texttype=5))
sky130_osu_single_mpr2ca.add(gdstk.Label('Y1', (5.98,2.48), layer=68, texttype=5))

lib.write_gds('sky130_osu_single_mpr2ca_8_b0r1.gds')
